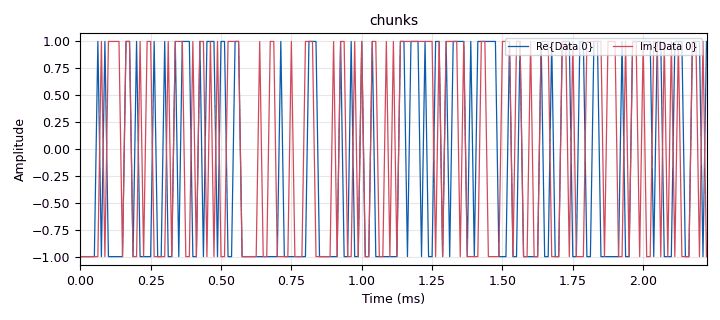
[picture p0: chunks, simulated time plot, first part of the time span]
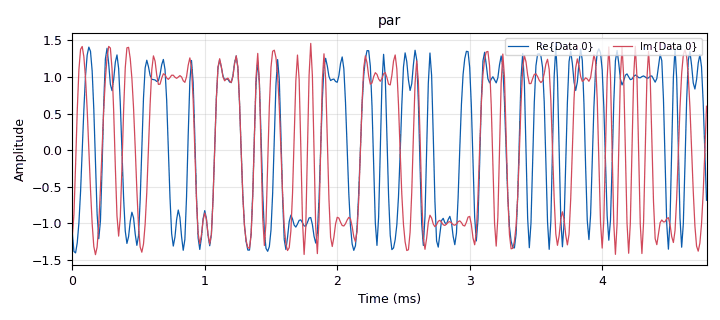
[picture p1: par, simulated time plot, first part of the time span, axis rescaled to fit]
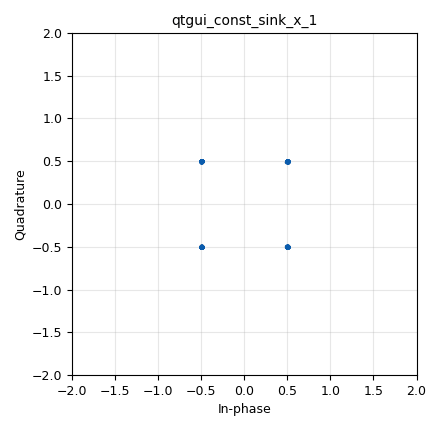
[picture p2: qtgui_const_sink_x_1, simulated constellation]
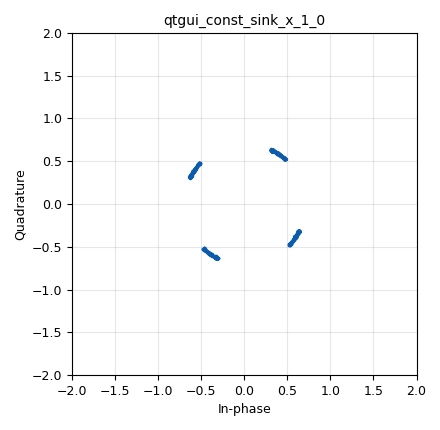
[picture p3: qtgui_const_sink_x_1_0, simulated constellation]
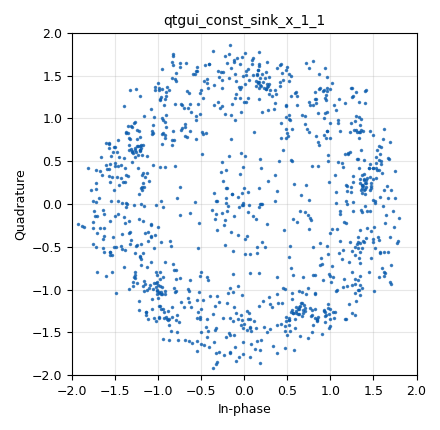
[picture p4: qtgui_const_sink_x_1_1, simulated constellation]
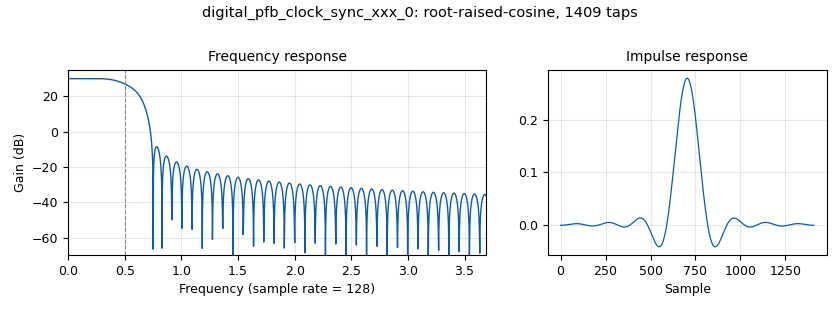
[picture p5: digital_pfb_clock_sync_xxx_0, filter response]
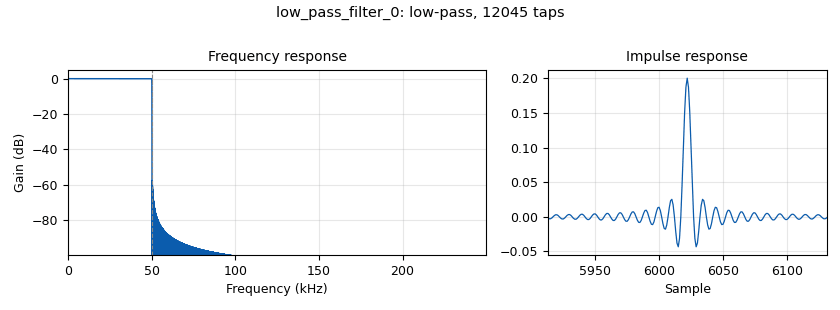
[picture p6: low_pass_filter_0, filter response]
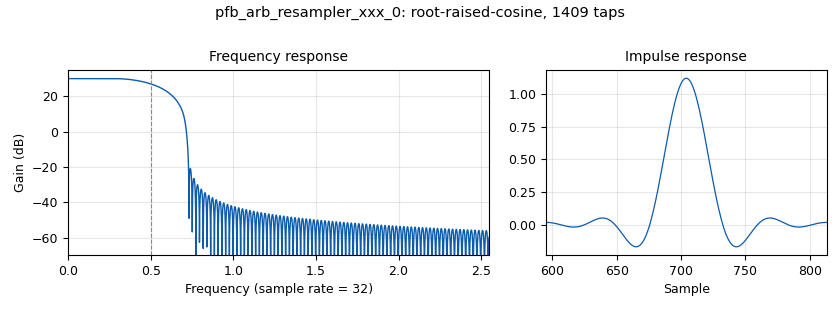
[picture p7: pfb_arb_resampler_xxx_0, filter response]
<?xml version='1.0' encoding='utf-8'?>
<?grc format='1' created='3.7.9'?>
<flow_graph>
<block>
<key>options</key>
<param><key>id</key><value>top_block</value></param>
<param><key>category</key><value>Custom</value></param>
<param><key>generate_options</key><value>qt_gui</value></param>
</block>
<block>
<key>variable</key>
<param><key>id</key><value>const_points</value></param>
<param><key>value</key><value>4</value></param>
</block>
<block>
<key>variable</key>
<param><key>id</key><value>excess_bw</value></param>
<param><key>value</key><value>0.45</value></param>
</block>
<block>
<key>variable</key>
<param><key>id</key><value>fll_ntaps</value></param>
<param><key>value</key><value>55</value></param>
</block>
<block>
<key>variable</key>
<param><key>id</key><value>freq_bw</value></param>
<param><key>value</key><value>2*pi/100</value></param>
</block>
<block>
<key>variable</key>
<param><key>id</key><value>nfilts</value></param>
<param><key>value</key><value>32</value></param>
</block>
<block>
<key>variable</key>
<param><key>id</key><value>ntaps</value></param>
<param><key>value</key><value>11*nfilts*sps</value></param>
</block>
<block>
<key>variable</key>
<param><key>id</key><value>rx_taps</value></param>
<param><key>value</key><value>filter.firdes.root_raised_cosine(nfilts,nfilts*sps,1.0,excess_bw,ntaps)</value></param>
</block>
<block>
<key>variable</key>
<param><key>id</key><value>samp_rate</value></param>
<param><key>value</key><value>80e3</value></param>
</block>
<block>
<key>variable</key>
<param><key>id</key><value>samp_rate2</value></param>
<param><key>value</key><value>500e3</value></param>
</block>
<block>
<key>variable</key>
<param><key>id</key><value>sps</value></param>
<param><key>value</key><value>4</value></param>
</block>
<block>
<key>variable</key>
<param><key>id</key><value>timing_bw</value></param>
<param><key>value</key><value>2*pi/100</value></param>
</block>
<block>
<key>variable</key>
<param><key>id</key><value>tx_taps</value></param>
<param><key>value</key><value>firdes.root_raised_cosine(nfilts,nfilts,1.0,excess_bw,ntaps)</value></param>
</block>
<block>
<key>analog_random_source_x</key>
<param><key>id</key><value>analog_random_source_x_0</value></param>
<param><key>max</key><value>const_points</value></param>
<param><key>min</key><value>0</value></param>
<param><key>num_samps</key><value>1000</value></param>
<param><key>type</key><value>byte</value></param>
<param><key>repeat</key><value>True</value></param>
</block>
<block>
<key>analog_sig_source_x</key>
<param><key>id</key><value>analog_sig_source_x_0</value></param>
<param><key>amp</key><value>1</value></param>
<param><key>freq</key><value>100e3</value></param>
<param><key>offset</key><value>0</value></param>
<param><key>type</key><value>complex</value></param>
<param><key>samp_rate</key><value>samp_rate2</value></param>
<param><key>waveform</key><value>analog.GR_COS_WAVE</value></param>
</block>
<block>
<key>analog_sig_source_x</key>
<param><key>id</key><value>analog_sig_source_x_1</value></param>
<param><key>amp</key><value>1</value></param>
<param><key>freq</key><value>100e3</value></param>
<param><key>offset</key><value>0</value></param>
<param><key>type</key><value>float</value></param>
<param><key>samp_rate</key><value>samp_rate2</value></param>
<param><key>waveform</key><value>analog.GR_COS_WAVE</value></param>
</block>
<block>
<key>analog_sig_source_x</key>
<param><key>id</key><value>analog_sig_source_x_2</value></param>
<param><key>amp</key><value>-1</value></param>
<param><key>freq</key><value>100e3</value></param>
<param><key>offset</key><value>0</value></param>
<param><key>type</key><value>float</value></param>
<param><key>samp_rate</key><value>samp_rate2</value></param>
<param><key>waveform</key><value>analog.GR_SIN_WAVE</value></param>
</block>
<block>
<key>blocks_complex_to_float</key>
<param><key>id</key><value>blocks_complex_to_float_0</value></param>
</block>
<block>
<key>blocks_float_to_complex</key>
<param><key>id</key><value>blocks_float_to_complex_0</value></param>
</block>
<block>
<key>blocks_multiply_xx</key>
<param><key>id</key><value>blocks_multiply_xx_0</value></param>
<param><key>type</key><value>complex</value></param>
</block>
<block>
<key>blocks_multiply_xx</key>
<param><key>id</key><value>blocks_multiply_xx_1</value></param>
<param><key>type</key><value>float</value></param>
</block>
<block>
<key>blocks_multiply_xx</key>
<param><key>id</key><value>blocks_multiply_xx_2</value></param>
<param><key>type</key><value>float</value></param>
</block>
<block>
<key>blocks_throttle</key>
<param><key>id</key><value>blocks_throttle_0</value></param>
<param><key>samples_per_second</key><value>samp_rate/sps</value></param>
<param><key>type</key><value>complex</value></param>
</block>
<block>
<key>qtgui_time_sink_x</key>
<param><key>id</key><value>chunks</value></param>
<param><key>color1</key><value>"blue"</value></param>
<param><key>label1</key><value></value></param>
<param><key>color2</key><value>"red"</value></param>
<param><key>label2</key><value></value></param>
<param><key>size</key><value>1024</value></param>
<param><key>srate</key><value>samp_rate</value></param>
<param><key>type</key><value>complex</value></param>
</block>
<block>
<key>digital_chunks_to_symbols_xx</key>
<param><key>id</key><value>digital_chunks_to_symbols_xx_0</value></param>
<param><key>dimension</key><value>1</value></param>
<param><key>in_type</key><value>byte</value></param>
<param><key>out_type</key><value>complex</value></param>
<param><key>symbol_table</key><value>((1+1j),(-1+1j),(-1-1j),(1-1j))</value></param>
</block>
<block>
<key>digital_costas_loop_cc</key>
<param><key>id</key><value>digital_costas_loop_cc_0</value></param>
<param><key>w</key><value>freq_bw</value></param>
<param><key>order</key><value>const_points</value></param>
</block>
<block>
<key>digital_fll_band_edge_cc</key>
<param><key>id</key><value>digital_fll_band_edge_cc_0</value></param>
<param><key>rolloff</key><value>excess_bw</value></param>
<param><key>w</key><value>freq_bw</value></param>
<param><key>filter_size</key><value>fll_ntaps</value></param>
<param><key>samps_per_sym</key><value>sps</value></param>
<param><key>type</key><value>cc</value></param>
</block>
<block>
<key>digital_pfb_clock_sync_xxx</key>
<param><key>id</key><value>digital_pfb_clock_sync_xxx_0</value></param>
<param><key>filter_size</key><value>nfilts</value></param>
<param><key>init_phase</key><value>16</value></param>
<param><key>loop_bw</key><value>timing_bw</value></param>
<param><key>max_dev</key><value>1.5</value></param>
<param><key>osps</key><value>1</value></param>
<param><key>sps</key><value>sps</value></param>
<param><key>taps</key><value>rx_taps</value></param>
<param><key>type</key><value>ccf</value></param>
</block>
<block>
<key>import</key>
<param><key>id</key><value>import_0</value></param>
<param><key>import</key><value>from math import pi</value></param>
</block>
<block>
<key>import</key>
<param><key>id</key><value>import_0_0</value></param>
<param><key>import</key><value>from gnuradio import filter</value></param>
</block>
<block>
<key>import</key>
<param><key>id</key><value>import_0_1</value></param>
<param><key>import</key><value>from gnuradio import digital</value></param>
</block>
<block>
<key>low_pass_filter</key>
<param><key>id</key><value>low_pass_filter_0</value></param>
<param><key>cutoff_freq</key><value>50e3</value></param>
<param><key>type</key><value>interp_fir_filter_fff</value></param>
<param><key>gain</key><value>1</value></param>
<param><key>interp</key><value>1</value></param>
<param><key>samp_rate</key><value>samp_rate2</value></param>
<param><key>width</key><value>100</value></param>
<param><key>win</key><value>firdes.WIN_HAMMING</value></param>
</block>
<block>
<key>low_pass_filter</key>
<param><key>id</key><value>low_pass_filter_1</value></param>
<param><key>cutoff_freq</key><value>50e3</value></param>
<param><key>type</key><value>interp_fir_filter_fff</value></param>
<param><key>gain</key><value>1</value></param>
<param><key>interp</key><value>1</value></param>
<param><key>samp_rate</key><value>samp_rate2</value></param>
<param><key>width</key><value>100</value></param>
<param><key>win</key><value>firdes.WIN_HAMMING</value></param>
</block>
<block>
<key>qtgui_time_sink_x</key>
<param><key>id</key><value>par</value></param>
<param><key>color1</key><value>"blue"</value></param>
<param><key>label1</key><value></value></param>
<param><key>color2</key><value>"red"</value></param>
<param><key>label2</key><value></value></param>
<param><key>size</key><value>1024</value></param>
<param><key>srate</key><value>samp_rate</value></param>
<param><key>type</key><value>complex</value></param>
</block>
<block>
<key>pfb_arb_resampler_xxx</key>
<param><key>id</key><value>pfb_arb_resampler_xxx_0</value></param>
<param><key>nfilts</key><value>nfilts</value></param>
<param><key>rrate</key><value>sps</value></param>
<param><key>atten</key><value>100</value></param>
<param><key>taps</key><value>tx_taps</value></param>
<param><key>type</key><value>ccf</value></param>
</block>
<block>
<key>qtgui_const_sink_x</key>
<param><key>id</key><value>qtgui_const_sink_x_0</value></param>
<param><key>_enabled</key><value>0</value></param>
<param><key>size</key><value>1024</value></param>
<param><key>type</key><value>complex</value></param>
</block>
<block>
<key>qtgui_const_sink_x</key>
<param><key>id</key><value>qtgui_const_sink_x_1</value></param>
<param><key>size</key><value>1024</value></param>
<param><key>type</key><value>complex</value></param>
</block>
<block>
<key>qtgui_const_sink_x</key>
<param><key>id</key><value>qtgui_const_sink_x_1_0</value></param>
<param><key>size</key><value>1024</value></param>
<param><key>type</key><value>complex</value></param>
</block>
<block>
<key>qtgui_const_sink_x</key>
<param><key>id</key><value>qtgui_const_sink_x_1_1</value></param>
<param><key>size</key><value>1024</value></param>
<param><key>type</key><value>complex</value></param>
</block>
<block>
<key>rational_resampler_xxx</key>
<param><key>id</key><value>rational_resampler_xxx_0</value></param>
<param><key>decim</key><value>8</value></param>
<param><key>interp</key><value>50</value></param>
<param><key>taps</key><value></value></param>
<param><key>type</key><value>ccc</value></param>
</block>
<block>
<key>rational_resampler_xxx</key>
<param><key>id</key><value>rational_resampler_xxx_1</value></param>
<param><key>decim</key><value>500</value></param>
<param><key>interp</key><value>80</value></param>
<param><key>taps</key><value></value></param>
<param><key>type</key><value>ccc</value></param>
</block>
<block>
<key>wxgui_scopesink2</key>
<param><key>id</key><value>wxgui_scopesink2_0</value></param>
<param><key>ac_couple</key><value>False</value></param>
<param><key>_enabled</key><value>0</value></param>
<param><key>num_inputs</key><value>1</value></param>
<param><key>samp_rate</key><value>samp_rate</value></param>
<param><key>t_scale</key><value>0</value></param>
<param><key>title</key><value>Scope Plot</value></param>
<param><key>trig_mode</key><value>wxgui.TRIG_MODE_AUTO</value></param>
<param><key>type</key><value>complex</value></param>
<param><key>v_offset</key><value>0</value></param>
<param><key>v_scale</key><value>0</value></param>
<param><key>xy_mode</key><value>False</value></param>
<param><key>y_axis_label</key><value>Counts</value></param>
</block>
<connection><source_block_id>analog_random_source_x_0</source_block_id><sink_block_id>digital_chunks_to_symbols_xx_0</sink_block_id><source_key>0</source_key><sink_key>0</sink_key></connection>
<connection><source_block_id>analog_sig_source_x_0</source_block_id><sink_block_id>blocks_multiply_xx_0</sink_block_id><source_key>0</source_key><sink_key>1</sink_key></connection>
<connection><source_block_id>analog_sig_source_x_1</source_block_id><sink_block_id>blocks_multiply_xx_1</sink_block_id><source_key>0</source_key><sink_key>1</sink_key></connection>
<connection><source_block_id>analog_sig_source_x_2</source_block_id><sink_block_id>blocks_multiply_xx_2</sink_block_id><source_key>0</source_key><sink_key>1</sink_key></connection>
<connection><source_block_id>blocks_complex_to_float_0</source_block_id><sink_block_id>blocks_multiply_xx_1</sink_block_id><source_key>0</source_key><sink_key>0</sink_key></connection>
<connection><source_block_id>blocks_complex_to_float_0</source_block_id><sink_block_id>blocks_multiply_xx_2</sink_block_id><source_key>0</source_key><sink_key>0</sink_key></connection>
<connection><source_block_id>blocks_float_to_complex_0</source_block_id><sink_block_id>rational_resampler_xxx_1</sink_block_id><source_key>0</source_key><sink_key>0</sink_key></connection>
<connection><source_block_id>blocks_multiply_xx_0</source_block_id><sink_block_id>blocks_complex_to_float_0</sink_block_id><source_key>0</source_key><sink_key>0</sink_key></connection>
<connection><source_block_id>blocks_multiply_xx_0</source_block_id><sink_block_id>qtgui_const_sink_x_1_1</sink_block_id><source_key>0</source_key><sink_key>0</sink_key></connection>
<connection><source_block_id>blocks_multiply_xx_1</source_block_id><sink_block_id>low_pass_filter_0</sink_block_id><source_key>0</source_key><sink_key>0</sink_key></connection>
<connection><source_block_id>blocks_multiply_xx_2</source_block_id><sink_block_id>low_pass_filter_1</sink_block_id><source_key>0</source_key><sink_key>0</sink_key></connection>
<connection><source_block_id>blocks_throttle_0</source_block_id><sink_block_id>pfb_arb_resampler_xxx_0</sink_block_id><source_key>0</source_key><sink_key>0</sink_key></connection>
<connection><source_block_id>digital_chunks_to_symbols_xx_0</source_block_id><sink_block_id>blocks_throttle_0</sink_block_id><source_key>0</source_key><sink_key>0</sink_key></connection>
<connection><source_block_id>digital_chunks_to_symbols_xx_0</source_block_id><sink_block_id>chunks</sink_block_id><source_key>0</source_key><sink_key>0</sink_key></connection>
<connection><source_block_id>digital_costas_loop_cc_0</source_block_id><sink_block_id>qtgui_const_sink_x_1</sink_block_id><source_key>0</source_key><sink_key>0</sink_key></connection>
<connection><source_block_id>digital_fll_band_edge_cc_0</source_block_id><sink_block_id>digital_pfb_clock_sync_xxx_0</sink_block_id><source_key>0</source_key><sink_key>0</sink_key></connection>
<connection><source_block_id>digital_pfb_clock_sync_xxx_0</source_block_id><sink_block_id>digital_costas_loop_cc_0</sink_block_id><source_key>0</source_key><sink_key>0</sink_key></connection>
<connection><source_block_id>digital_pfb_clock_sync_xxx_0</source_block_id><sink_block_id>qtgui_const_sink_x_1_0</sink_block_id><source_key>0</source_key><sink_key>0</sink_key></connection>
<connection><source_block_id>low_pass_filter_0</source_block_id><sink_block_id>blocks_float_to_complex_0</sink_block_id><source_key>0</source_key><sink_key>0</sink_key></connection>
<connection><source_block_id>low_pass_filter_1</source_block_id><sink_block_id>blocks_float_to_complex_0</sink_block_id><source_key>0</source_key><sink_key>1</sink_key></connection>
<connection><source_block_id>pfb_arb_resampler_xxx_0</source_block_id><sink_block_id>par</sink_block_id><source_key>0</source_key><sink_key>0</sink_key></connection>
<connection><source_block_id>pfb_arb_resampler_xxx_0</source_block_id><sink_block_id>qtgui_const_sink_x_0</sink_block_id><source_key>0</source_key><sink_key>0</sink_key></connection>
<connection><source_block_id>pfb_arb_resampler_xxx_0</source_block_id><sink_block_id>rational_resampler_xxx_0</sink_block_id><source_key>0</source_key><sink_key>0</sink_key></connection>
<connection><source_block_id>pfb_arb_resampler_xxx_0</source_block_id><sink_block_id>wxgui_scopesink2_0</sink_block_id><source_key>0</source_key><sink_key>0</sink_key></connection>
<connection><source_block_id>rational_resampler_xxx_0</source_block_id><sink_block_id>blocks_multiply_xx_0</sink_block_id><source_key>0</source_key><sink_key>0</sink_key></connection>
<connection><source_block_id>rational_resampler_xxx_1</source_block_id><sink_block_id>digital_fll_band_edge_cc_0</sink_block_id><source_key>0</source_key><sink_key>0</sink_key></connection>
</flow_graph>
